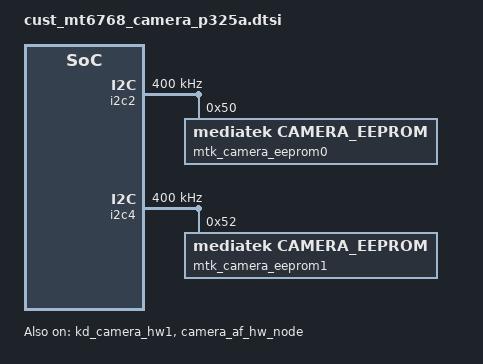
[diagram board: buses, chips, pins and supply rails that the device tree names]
// SPDX-License-Identifier: (GPL-2.0 OR MIT)
/*
 * Copyright (c) 2019 MediaTek Inc.
 */
/* CAMERA GPIO standardization */
&pio {
	camera0_mclk_2mA: camera0_mclk_2mA@gpio99 {
		pins_cmd_dat {
			pinmux = <PINMUX_GPIO99__FUNC_CMMCLK0>;
			drive-strength = <MTK_DRIVE_2mA>;
		};
	};
	camera0_mclk_4mA: camera0_mclk_4mA@gpio99 {
		pins_cmd_dat {
			pinmux = <PINMUX_GPIO99__FUNC_CMMCLK0>;
			drive-strength = <MTK_DRIVE_4mA>;
		};
	};
	camera0_mclk_6mA: camera0_mclk_6mA@gpio99 {
		pins_cmd_dat {
			pinmux = <PINMUX_GPIO99__FUNC_CMMCLK0>;
			drive-strength = <MTK_DRIVE_6mA>;
		};
	};
	camera0_mclk_8mA: camera0_mclk_8mA@gpio99 {
		pins_cmd_dat {
			pinmux = <PINMUX_GPIO99__FUNC_CMMCLK0>;
			drive-strength = <7>;
		};
	};
	camera0_mclk_off: camera0_mclk_gpio_mode@gpio99 {
		pins_cmd_dat {
			pinmux = <PINMUX_GPIO99__FUNC_GPIO99>;
			drive-strength = <MTK_DRIVE_4mA>;
		};
	};
	camera1_mclk_2mA: camera1_mclk_2mA@gpio100 {
		pins_cmd_dat {
			pinmux = <PINMUX_GPIO100__FUNC_CMMCLK1>;
			drive-strength = <MTK_DRIVE_2mA>;
		};
	};
	camera1_mclk_4mA: camera1_mclk_4mA@gpio100 {
		pins_cmd_dat {
			pinmux = <PINMUX_GPIO100__FUNC_CMMCLK1>;
			drive-strength = <MTK_DRIVE_4mA>;
		};
	};
	camera1_mclk_6mA: camera1_mclk_6mA@gpio100 {
		pins_cmd_dat {
			pinmux = <PINMUX_GPIO100__FUNC_CMMCLK1>;
			drive-strength = <MTK_DRIVE_6mA>;
		};
	};
	camera1_mclk_8mA: camera1_mclk_8mA@gpio100 {
		pins_cmd_dat {
			pinmux = <PINMUX_GPIO100__FUNC_CMMCLK1>;
			drive-strength = <7>;
		};
	};
	camera1_mclk_off: camera1_mclk_gpio_mode@gpio100 {
		pins_cmd_dat {
			pinmux = <PINMUX_GPIO100__FUNC_GPIO100>;
			drive-strength = <MTK_DRIVE_4mA>;
		};
	};
	camera2_mclk_2mA: camera2_mclk_2mA@gpio108 {
		pins_cmd_dat {
			pinmux = <PINMUX_GPIO108__FUNC_CMMCLK2>;
			drive-strength = <MTK_DRIVE_2mA>;
		};
	};
	camera2_mclk_4mA: camera2_mclk_4mA@gpio108 {
		pins_cmd_dat {
			pinmux = <PINMUX_GPIO108__FUNC_CMMCLK2>;
			drive-strength = <MTK_DRIVE_4mA>;
		};
	};
	camera2_mclk_6mA: camera2_mclk_6mA@gpio108 {
		pins_cmd_dat {
			pinmux = <PINMUX_GPIO108__FUNC_CMMCLK2>;
			drive-strength = <MTK_DRIVE_6mA>;
		};
	};
	camera2_mclk_8mA: camera2_mclk_8mA@gpio108 {
		pins_cmd_dat {
			pinmux = <PINMUX_GPIO108__FUNC_CMMCLK2>;
			drive-strength = <7>;
		};
	};
	camera2_mclk_off: camera2_mclk_gpio_mode@gpio108 {
		pins_cmd_dat {
			pinmux = <PINMUX_GPIO108__FUNC_GPIO108>;
			drive-strength = <MTK_DRIVE_4mA>;
		};
	};
	camera0_rst_low: camera0_rst_output_low@gpio101 {
		pins_cmd_dat {
			pinmux = <PINMUX_GPIO101__FUNC_GPIO101>;
			output-low;
		};
	};
	camera0_rst_high: camera0_rst_output_high@gpio101 {
		pins_cmd_dat {
			pinmux = <PINMUX_GPIO101__FUNC_GPIO101>;
			output-high;
		};
	};
	camera1_rst_low: camera1_rst_output_low@gpio109 {
		pins_cmd_dat {
			pinmux = <PINMUX_GPIO109__FUNC_GPIO109>;
			output-low;
		};
	};
	camera1_rst_high: camera1_rst_output_high@gpio109 {
		pins_cmd_dat {
			pinmux = <PINMUX_GPIO109__FUNC_GPIO109>;
			output-high;
		};
	};
	camera2_rst_low: camera2_rst_output_low@gpio102 {
		pins_cmd_dat {
			pinmux = <PINMUX_GPIO102__FUNC_GPIO102>;
			output-low;
		};
	};
	camera2_rst_high: camera2_rst_output_high@gpio102 {
		pins_cmd_dat {
			pinmux = <PINMUX_GPIO102__FUNC_GPIO102>;
			output-high;
		};
	};
	camera0_vcama_off: camera0_vcama_output_low@gpio97 {
		pins_cmd_dat {
			pinmux = <PINMUX_GPIO97__FUNC_GPIO97>;
			output-low;
		};
	};
	camera0_vcama_on: camera0_vcama_output_high@gpio97 {
		pins_cmd_dat {
			pinmux = <PINMUX_GPIO97__FUNC_GPIO97>;
			output-high;
		};
	};
	camera0_vcamd_off: camera0_vcamd_output_low@gpio153 {
		pins_cmd_dat {
			pinmux = <PINMUX_GPIO153__FUNC_GPIO153>;
			output-low;
		};
	};
	camera0_vcamd_on: camera0_vcamd_output_high@gpio153 {
		pins_cmd_dat {
			pinmux = <PINMUX_GPIO153__FUNC_GPIO153>;
			output-high;
		};
	};
	camera1_vcama_off: camera1_vcama_output_low@gpio111 {
		pins_cmd_dat {
			pinmux = <PINMUX_GPIO111__FUNC_GPIO111>;
			output-low;
		};
	};
	camera1_vcama_on: camera1_vcama_output_high@gpio111 {
		pins_cmd_dat {
			pinmux = <PINMUX_GPIO111__FUNC_GPIO111>;
			output-high;
		};
	};
	camera2_vcama_off: camera2_vcama_output_low@gpio178 {
		pins_cmd_dat {
			pinmux = <PINMUX_GPIO178__FUNC_GPIO178>;
			output-low;
		};
	};
	camera2_vcama_on: camera2_vcama_output_high@gpio178 {
		pins_cmd_dat {
			pinmux = <PINMUX_GPIO178__FUNC_GPIO178>;
			output-high;
		};
	};
	camera_pins_default: camdefault {
		pins_cmd_dat {
		    pinmux = <PINMUX_GPIO158__FUNC_GPIO158>;
		    slew-rate = <0>;
		    bias-pull-down;
		};
	};

};

&kd_camera_hw1 {
	pinctrl-names = "default",
			"cam0_rst0", "cam0_rst1",
			"cam1_rst0", "cam1_rst1",
			"cam2_rst0", "cam2_rst1",
			"cam0_vcama_on",
			"cam0_vcama_off",
			"cam0_vcamd_on",
			"cam0_vcamd_off",
			"cam1_vcama_on",
			"cam1_vcama_off",
			"cam2_vcama_on",
			"cam2_vcama_off",
			"cam0_mclk_off",
			"cam0_mclk_2mA", "cam0_mclk_4mA",
			"cam0_mclk_6mA", "cam0_mclk_8mA",
			"cam1_mclk_off",
			"cam1_mclk_2mA", "cam1_mclk_4mA",
			"cam1_mclk_6mA", "cam1_mclk_8mA",
			"cam2_mclk_off",
			"cam2_mclk_2mA", "cam2_mclk_4mA",
			"cam2_mclk_6mA", "cam2_mclk_8mA";
	pinctrl-0 = <&camera_pins_default>;
	pinctrl-1 = <&camera0_rst_low>;
	pinctrl-2 = <&camera0_rst_high>;
	pinctrl-3 = <&camera1_rst_low>;
	pinctrl-4 = <&camera1_rst_high>;
	pinctrl-5 = <&camera2_rst_low>;
	pinctrl-6 = <&camera2_rst_high>;
	pinctrl-7 = <&camera0_vcama_on>;
	pinctrl-8 = <&camera0_vcama_off>;
	pinctrl-9 = <&camera0_vcamd_on>;
	pinctrl-10 = <&camera0_vcamd_off>;
	pinctrl-11 = <&camera1_vcama_on>;
	pinctrl-12 = <&camera1_vcama_off>;
	pinctrl-13 = <&camera2_vcama_on>;
	pinctrl-14 = <&camera2_vcama_off>;
	pinctrl-15 = <&camera0_mclk_off>;
	pinctrl-16 = <&camera0_mclk_2mA>;
	pinctrl-17 = <&camera0_mclk_4mA>;
	pinctrl-18 = <&camera0_mclk_6mA>;
	pinctrl-19 = <&camera0_mclk_8mA>;
	pinctrl-20 = <&camera1_mclk_off>;
	pinctrl-21 = <&camera1_mclk_2mA>;
	pinctrl-22 = <&camera1_mclk_4mA>;
	pinctrl-23 = <&camera1_mclk_6mA>;
	pinctrl-24 = <&camera1_mclk_8mA>;
	pinctrl-25 = <&camera2_mclk_off>;
	pinctrl-26 = <&camera2_mclk_2mA>;
	pinctrl-27 = <&camera2_mclk_4mA>;
	pinctrl-28 = <&camera2_mclk_6mA>;
	pinctrl-29 = <&camera2_mclk_8mA>;

	cam0_vcamio-supply = <&mt_pmic_vcamio_ldo_reg>;
	cam1_vcama-supply = <&mt_pmic_vcama2_ldo_reg>;
	cam1_vcamd-supply = <&mt_pmic_vcamd_ldo_reg>;
	cam1_vcamio-supply = <&mt_pmic_vcamio_ldo_reg>;
	cam2_vcamio-supply = <&mt_pmic_vcamio_ldo_reg>;
	cam2_vcama-supply = <&mt_pmic_vcama2_ldo_reg>;
	pmic = <&main_pmic>;

	cam0_enable_sensor = "s5kjnssq_mipi_raw";
	cam1_enable_sensor = "s5k3p9sp_mipi_raw s5k4h7_mipi_raw";
	cam2_enable_sensor = "sc202cs_mipi_raw";
	status = "okay";
};
/* CAMERA GPIO end */

/* CAMERA EEPROM */
&i2c2 {
	status = "okay";
	clock-frequency = <400000>;
	#address-cells = <1>;
	size-cells = <0>;
	mtk_camera_eeprom0:camera_eeprom0@50 {
		compatible = "mediatek,camera_eeprom";
		reg = <0x50>;
		status = "okay";
	};
};
&i2c4 {
	status = "okay";
	clock-frequency = <400000>;
	#address-cells = <1>;
	size-cells = <0>;
	mtk_camera_eeprom1:camera_eeprom1@52 {
		compatible = "mediatek,camera_eeprom";
		reg = <0x52>;
		status = "okay";
	};
};
/* CAMERA AF */
&camera_af_hw_node {
	camaf_m1_pmic-supply = <&mt_pmic_vldo28_ldo_reg>;
	status = "okay";
};

&kd_camera_hw1 {
    compatible = "mediatek,camera_hw";
    tinno,frontid-gpio = <&pio 158 0>;
	status = "okay";
};

/* CAMERA AF end */
